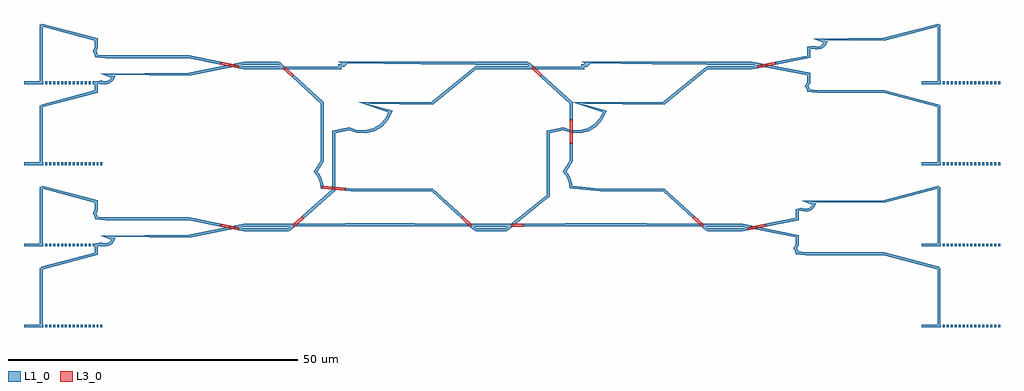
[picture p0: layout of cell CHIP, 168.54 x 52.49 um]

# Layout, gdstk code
import gdstk
lib = gdstk.Library(unit=1e-6, precision=1e-09)
def R(c, l, rs):  # rectangles x0, y0, x1, y1
    for r in rs: c.add(gdstk.rectangle(r[:2], r[2:], *l))
def A(c, l, x, y, w, h, nx, ny, dx, dy):  # array of equal rectangles
    R(c, l, [(x+i*dx, y+j*dy, x+i*dx+w, y+j*dy+h) for i in range(nx) for j in range(ny)])
L1_0 = (1, 0)
L3_0 = (3, 0)

chip = lib.new_cell('CHIP')
A(chip, L1_0, -15, -0.25, 0.34, 0.5, 16, 4, 0.68, 14)
A(chip, L1_0, 140, -0.25, 0.34, 0.5, 16, 4, 0.68, 14)
chip.add(gdstk.FlexPath([(20,17.4),(27.75,17.4)], 0.5, ends="flush", simple_path=True, layer=1, datatype=0))  # L1_0
chip.add(gdstk.FlexPath([(20,16.6),(27.75,16.6)], 0.5, ends="flush", simple_path=True, layer=1, datatype=0))  # L1_0
chip.add(gdstk.FlexPath([(20,45.4),(26.073,45.4)], 0.5, ends="flush", simple_path=True, layer=1, datatype=0))  # L1_0
chip.add(gdstk.FlexPath([(20,44.6),(26.073,44.6)], 0.5, ends="flush", simple_path=True, layer=1, datatype=0))  # L1_0
chip.add(gdstk.FlexPath([(60,17.4),(65.167,17.4)], 0.5, ends="flush", simple_path=True, layer=1, datatype=0))  # L1_0
chip.add(gdstk.FlexPath([(60,16.6),(65.167,16.6)], 0.5, ends="flush", simple_path=True, layer=1, datatype=0))  # L1_0
chip.add(gdstk.FlexPath([(60,45.4),(68.997,45.4)], 0.5, ends="flush", simple_path=True, layer=1, datatype=0))  # L1_0
chip.add(gdstk.FlexPath([(60,44.6),(68.997,44.6)], 0.5, ends="flush", simple_path=True, layer=1, datatype=0))  # L1_0
chip.add(gdstk.FlexPath([(100,17.4),(106.073,17.4)], 0.5, ends="flush", simple_path=True, layer=1, datatype=0))  # L1_0
chip.add(gdstk.FlexPath([(100,16.6),(106.073,16.6)], 0.5, ends="flush", simple_path=True, layer=1, datatype=0))  # L1_0
chip.add(gdstk.FlexPath([(100,45.4),(107.75,45.4)], 0.5, ends="flush", simple_path=True, layer=1, datatype=0))  # L1_0
chip.add(gdstk.FlexPath([(100,44.6),(107.75,44.6)], 0.5, ends="flush", simple_path=True, layer=1, datatype=0))  # L1_0
chip.add(gdstk.FlexPath([(-15,0),(-15,10)], 0.5, ends="flush", simple_path=True, layer=1, datatype=0))  # L1_0
chip.add(gdstk.FlexPath([(140,0),(140,10)], 0.5, ends="flush", simple_path=True, layer=1, datatype=0))  # L1_0
chip.add(gdstk.FlexPath([(-15,14),(-15,24)], 0.5, ends="flush", simple_path=True, layer=1, datatype=0))  # L1_0
chip.add(gdstk.FlexPath([(140,14),(140,24)], 0.5, ends="flush", simple_path=True, layer=1, datatype=0))  # L1_0
chip.add(gdstk.FlexPath([(-15,28),(-15,38)], 0.5, ends="flush", simple_path=True, layer=1, datatype=0))  # L1_0
chip.add(gdstk.FlexPath([(140,28),(140,38)], 0.5, ends="flush", simple_path=True, layer=1, datatype=0))  # L1_0
chip.add(gdstk.FlexPath([(-15,42),(-15,52)], 0.5, ends="flush", simple_path=True, layer=1, datatype=0))  # L1_0
chip.add(gdstk.FlexPath([(140,42),(140,52)], 0.5, ends="flush", simple_path=True, layer=1, datatype=0))  # L1_0
chip.add(gdstk.FlexPath([(-15,10),(-5.5,12.5),(-5.5,14),(-4.707,14.177),(-4.293,14.029),(-3.853,14.007),(-3.426,14.114),(-3.048,14.34),(-2.753,14.667),(-2.565,15.065),(-4,15.5),(10.5,15.5),(20,17.4)], 0.5, ends="flush", simple_path=True, layer=1, datatype=0))  # L1_0
chip.add(gdstk.FlexPath([(-15,24),(-5.5,21.5),(-5.5,20),(-5.84,19.452),(-5.753,19.333),(-5.677,19.207),(-5.614,19.074),(-5.565,18.935),(-5.529,18.793),(-5.507,18.647),(-4,18.5),(10.5,18.5),(16.039,17.392)], 0.5, ends="flush", simple_path=True, layer=1, datatype=0))  # L1_0
chip.add(gdstk.FlexPath([(16.039,17.392),(19.019,16.796)], 0.5, ends="flush", simple_path=True, layer=3, datatype=0))  # L3_0
chip.add(gdstk.FlexPath([(19.019,16.796),(20,16.6)], 0.5, ends="flush", simple_path=True, layer=1, datatype=0))  # L1_0
chip.add(gdstk.FlexPath([(-15,38),(-5.5,40.5),(-5.5,42),(-4.707,42.177),(-4.293,42.029),(-3.853,42.007),(-3.426,42.114),(-3.048,42.34),(-2.753,42.667),(-2.565,43.065),(-4,43.5),(10.5,43.5),(20,45.4)], 0.5, ends="flush", simple_path=True, layer=1, datatype=0))  # L1_0
chip.add(gdstk.FlexPath([(-15,52),(-5.5,49.5),(-5.5,48),(-5.84,47.452),(-5.753,47.333),(-5.677,47.207),(-5.614,47.074),(-5.565,46.935),(-5.529,46.793),(-5.507,46.647),(-4,46.5),(10.5,46.5),(16.039,45.392)], 0.5, ends="flush", simple_path=True, layer=1, datatype=0))  # L1_0
chip.add(gdstk.FlexPath([(16.039,45.392),(19.019,44.796)], 0.5, ends="flush", simple_path=True, layer=3, datatype=0))  # L3_0
chip.add(gdstk.FlexPath([(19.019,44.796),(20,44.6)], 0.5, ends="flush", simple_path=True, layer=1, datatype=0))  # L1_0
chip.add(gdstk.FlexPath([(27.75,17.4),(37.5,17.5),(49.5,17.5),(60,17.4)], 0.5, ends="flush", simple_path=True, layer=1, datatype=0))  # L1_0
chip.add(gdstk.FlexPath([(27.75,16.6),(28.497,17.265)], 0.5, ends="flush", simple_path=True, layer=1, datatype=0))  # L1_0
chip.add(gdstk.FlexPath([(28.497,17.265),(30.153,18.739)], 0.5, ends="flush", simple_path=True, layer=3, datatype=0))  # L3_0
chip.add(gdstk.FlexPath([(30.153,18.739),(35.5,23.5),(35.5,33.5),(38.143,34.09),(39.524,33.596),(40.99,33.524),(42.413,33.881),(43.672,34.635),(44.657,35.722),(45.285,37.049),(40.5,38.5),(52.5,38.5),(60,44.6)], 0.5, ends="flush", simple_path=True, layer=1, datatype=0))  # L1_0
chip.add(gdstk.FlexPath([(26.073,45.4),(26.806,44.719)], 0.5, ends="flush", simple_path=True, layer=1, datatype=0))  # L1_0
chip.add(gdstk.FlexPath([(26.806,44.719),(28.409,43.23)], 0.5, ends="flush", simple_path=True, layer=3, datatype=0))  # L3_0
chip.add(gdstk.FlexPath([(28.409,43.23),(33.5,38.5),(33.5,28.5),(32.365,26.672),(32.657,26.278),(32.91,25.857),(33.119,25.413),(33.285,24.951),(33.404,24.476),(33.476,23.99),(33.509,23.987)], 0.5, ends="flush", simple_path=True, layer=1, datatype=0))  # L1_0
chip.add(gdstk.FlexPath([(33.509,23.987),(37.491,23.598)], 0.5, ends="flush", simple_path=True, layer=3, datatype=0))  # L3_0
chip.add(gdstk.FlexPath([(37.491,23.598),(38.5,23.5),(52.5,23.5),(57.649,18.762)], 0.5, ends="flush", simple_path=True, layer=1, datatype=0))  # L1_0
chip.add(gdstk.FlexPath([(57.649,18.762),(59.264,17.277)], 0.5, ends="flush", simple_path=True, layer=3, datatype=0))  # L3_0
chip.add(gdstk.FlexPath([(59.264,17.277),(60,16.6)], 0.5, ends="flush", simple_path=True, layer=1, datatype=0))  # L1_0
chip.add(gdstk.FlexPath([(26.073,44.6),(36.5,44.5),(36.5,45),(36.764,45.059),(36.902,45.01),(37.049,45.002),(37.191,45.038),(37.317,45.114),(37.416,45.222),(37.478,45.355),(37,45.5),(50.5,45.5),(60,45.4)], 0.5, ends="flush", simple_path=True, layer=1, datatype=0))  # L1_0
chip.add(gdstk.FlexPath([(65.167,17.4),(66.167,17.41)], 0.5, ends="flush", simple_path=True, layer=1, datatype=0))  # L1_0
chip.add(gdstk.FlexPath([(66.167,17.41),(68.173,17.429)], 0.5, ends="flush", simple_path=True, layer=3, datatype=0))  # L3_0
chip.add(gdstk.FlexPath([(68.173,17.429),(75.5,17.5),(89.5,17.5),(100,17.4)], 0.5, ends="flush", simple_path=True, layer=1, datatype=0))  # L1_0
chip.add(gdstk.FlexPath([(65.167,16.6),(72.5,22.5),(72.5,33.5),(75.143,34.09),(76.524,33.596),(77.99,33.524),(79.413,33.881),(80.672,34.635),(81.657,35.722),(82.285,37.049),(77.5,38.5),(92.5,38.5),(100,44.6)], 0.5, ends="flush", simple_path=True, layer=1, datatype=0))  # L1_0
chip.add(gdstk.FlexPath([(68.997,45.4),(69.733,44.723)], 0.5, ends="flush", simple_path=True, layer=1, datatype=0))  # L1_0
chip.add(gdstk.FlexPath([(69.733,44.723),(71.349,43.237)], 0.5, ends="flush", simple_path=True, layer=3, datatype=0))  # L3_0
chip.add(gdstk.FlexPath([(71.349,43.237),(76.5,38.5),(76.5,35.605)], 0.5, ends="flush", simple_path=True, layer=1, datatype=0))  # L1_0
chip.add(gdstk.FlexPath([(76.5,35.605),(76.5,31.605)], 0.5, ends="flush", simple_path=True, layer=3, datatype=0))  # L3_0
chip.add(gdstk.FlexPath([(76.5,31.605),(76.5,28.5),(75.365,26.672),(75.657,26.278),(75.91,25.857),(76.119,25.413),(76.285,24.951),(76.404,24.476),(76.476,23.99),(81.5,23.5),(92.5,23.5),(97.65,18.762)], 0.5, ends="flush", simple_path=True, layer=1, datatype=0))  # L1_0
chip.add(gdstk.FlexPath([(97.65,18.762),(99.264,17.277)], 0.5, ends="flush", simple_path=True, layer=3, datatype=0))  # L3_0
chip.add(gdstk.FlexPath([(99.264,17.277),(100,16.6)], 0.5, ends="flush", simple_path=True, layer=1, datatype=0))  # L1_0
chip.add(gdstk.FlexPath([(68.997,44.6),(78.5,44.5),(78.5,45),(78.764,45.059),(78.902,45.01),(79.049,45.002),(79.191,45.038),(79.317,45.114),(79.416,45.222),(79.478,45.355),(79,45.5),(90.5,45.5),(100,45.4)], 0.5, ends="flush", simple_path=True, layer=1, datatype=0))  # L1_0
chip.add(gdstk.FlexPath([(106.073,17.4),(115.5,15.5),(115.5,14),(115.159,13.452),(115.247,13.333),(115.323,13.207),(115.386,13.074),(115.435,12.935),(115.471,12.793),(115.493,12.647),(117,12.5),(130.5,12.5),(140,10)], 0.5, ends="flush", simple_path=True, layer=1, datatype=0))  # L1_0
chip.add(gdstk.FlexPath([(106.073,16.6),(107.054,16.798)], 0.5, ends="flush", simple_path=True, layer=1, datatype=0))  # L1_0
chip.add(gdstk.FlexPath([(107.054,16.798),(110.018,17.395)], 0.5, ends="flush", simple_path=True, layer=3, datatype=0))  # L3_0
chip.add(gdstk.FlexPath([(110.018,17.395),(115.5,18.5),(115.5,20),(116.293,20.177),(116.707,20.029),(117.147,20.007),(117.574,20.114),(117.952,20.34),(118.247,20.667),(118.435,21.065),(117,21.5),(130.5,21.5),(140,24)], 0.5, ends="flush", simple_path=True, layer=1, datatype=0))  # L1_0
chip.add(gdstk.FlexPath([(107.75,45.4),(117.5,43.5),(117.5,42),(117.159,41.452),(117.247,41.333),(117.323,41.207),(117.386,41.074),(117.435,40.935),(117.471,40.793),(117.493,40.647),(119,40.5),(130.5,40.5),(140,38)], 0.5, ends="flush", simple_path=True, layer=1, datatype=0))  # L1_0
chip.add(gdstk.FlexPath([(107.75,44.6),(108.732,44.791)], 0.5, ends="flush", simple_path=True, layer=1, datatype=0))  # L1_0
chip.add(gdstk.FlexPath([(108.732,44.791),(111.766,45.383)], 0.5, ends="flush", simple_path=True, layer=3, datatype=0))  # L3_0
chip.add(gdstk.FlexPath([(111.766,45.383),(117.5,46.5),(117.5,48),(118.293,48.177),(118.707,48.029),(119.147,48.007),(119.574,48.114),(119.952,48.34),(120.247,48.667),(120.435,49.065),(119,49.5),(130.5,49.5),(140,52)], 0.5, ends="flush", simple_path=True, layer=1, datatype=0))  # L1_0
chip.add(gdstk.FlexPath([(-18,0),(-15,0)], 0.5, ends="flush", simple_path=True, layer=1, datatype=0))  # L1_0
chip.add(gdstk.FlexPath([(137,0),(140,0)], 0.5, ends="flush", simple_path=True, layer=1, datatype=0))  # L1_0
chip.add(gdstk.FlexPath([(-18,14),(-15,14)], 0.5, ends="flush", simple_path=True, layer=1, datatype=0))  # L1_0
chip.add(gdstk.FlexPath([(137,14),(140,14)], 0.5, ends="flush", simple_path=True, layer=1, datatype=0))  # L1_0
chip.add(gdstk.FlexPath([(-18,28),(-15,28)], 0.5, ends="flush", simple_path=True, layer=1, datatype=0))  # L1_0
chip.add(gdstk.FlexPath([(137,28),(140,28)], 0.5, ends="flush", simple_path=True, layer=1, datatype=0))  # L1_0
chip.add(gdstk.FlexPath([(-18,42),(-15,42)], 0.5, ends="flush", simple_path=True, layer=1, datatype=0))  # L1_0
chip.add(gdstk.FlexPath([(137,42),(140,42)], 0.5, ends="flush", simple_path=True, layer=1, datatype=0))  # L1_0

lib.write_gds('CHIP.gds')
